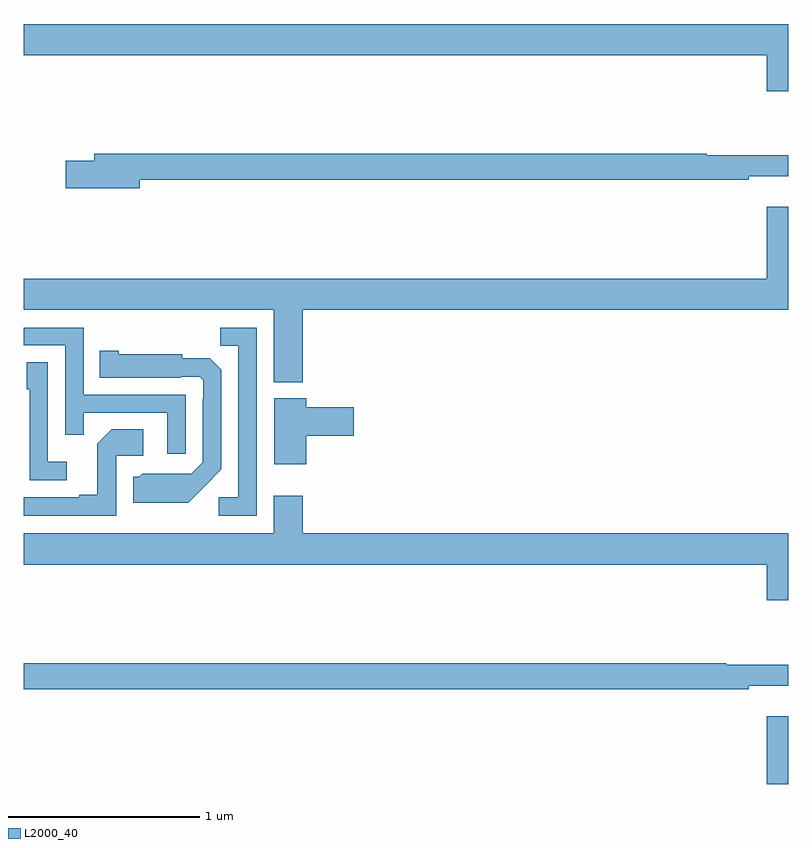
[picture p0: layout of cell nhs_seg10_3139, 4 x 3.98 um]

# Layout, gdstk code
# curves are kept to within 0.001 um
import gdstk
lib = gdstk.Library(unit=1e-6, precision=1e-09)
def R(c, l, rs):  # rectangles x0, y0, x1, y1
    for r in rs: c.add(gdstk.rectangle(r[:2], r[2:], *l))
def P(c, l, *ps):  # polygons
    for p in ps: c.add(gdstk.Polygon(p, *l))
L2000_40 = (2000, 40)

nhs_seg10_3139 = lib.new_cell('nhs_seg10_3139')
R(nhs_seg10_3139, L2000_40, [(284.888,1300.5,285,1300.855)])
P(nhs_seg10_3139, L2000_40, [(285,1304.476),(281,1304.476),(281,1304.312),(284.888,1304.312),(284.888,1304.124),(285,1304.124)],
  [(281.608,1303.66),(284.792,1303.66),(284.792,1303.679),(285,1303.679),(285,1303.789),(284.573,1303.789),(284.573,1303.796),(281.369,1303.796),(281.369,1303.76),(281.22,1303.76),(281.22,1303.618),(281.608,1303.618)],
  [(282.461,1302.98),(285,1302.98),(285,1303.519),(284.888,1303.519),(284.888,1303.144),(281,1303.144),(281,1302.98),(282.308,1302.98),(282.308,1302.602),(282.461,1302.602)],
  [(281.847,1302.537),(281.313,1302.537),(281.313,1302.888),(281,1302.888),(281,1302.795),(281.217,1302.795),(281.217,1302.328),(281.315,1302.328),(281.315,1302.441),(281.751,1302.441),(281.751,1302.228),(281.847,1302.228)],
  [(282.219,1302.888),(282.028,1302.888),(282.028,1302.793),(282.123,1302.793),(282.123,1302),(282.021,1302),(282.021,1301.904),(282.219,1301.904)],
  [(281.941,1302.053),(282.033,1302.146),(282.033,1302.668),(281.974,1302.727),(281.829,1302.727),(281.829,1302.748),(281.496,1302.748),(281.496,1302.766),(281.398,1302.766),(281.398,1302.626),(281.822,1302.626),(281.822,1302.63),(281.922,1302.63),(281.94,1302.612),(281.94,1302.512),(281.937,1302.512),(281.937,1302.183),(281.877,1302.123),(281.62,1302.124),(281.604,1302.108),(281.573,1302.108),(281.573,1301.972),(281.861,1301.972)],
  [(281.224,1302.187),(281.127,1302.187),(281.127,1302.707),(281.016,1302.707),(281.016,1302.564),(281.031,1302.564),(281.031,1302.09),(281.224,1302.09)],
  [(282.478,1302.323),(282.727,1302.323),(282.727,1302.47),(282.478,1302.47),(282.478,1302.517),(282.311,1302.517),(282.311,1302.174),(282.478,1302.174)],
  [(281.484,1302.216),(281.626,1302.216),(281.626,1302.356),(281.461,1302.356),(281.385,1302.28),(281.385,1302.013),(281.291,1302.013),(281.291,1302),(281,1302),(281,1301.904),(281.484,1301.904)],
  [(285,1301.812),(282.461,1301.812),(282.461,1302.007),(282.308,1302.007),(282.308,1301.812),(281,1301.812),(281,1301.648),(284.888,1301.648),(284.888,1301.46),(285,1301.46)],
  [(284.792,1301.015),(285,1301.015),(285,1301.125),(284.675,1301.125),(284.675,1301.132),(281,1301.132),(281,1300.996),(284.792,1300.996)])

lib.write_gds('nhs_seg10_3139.gds')
